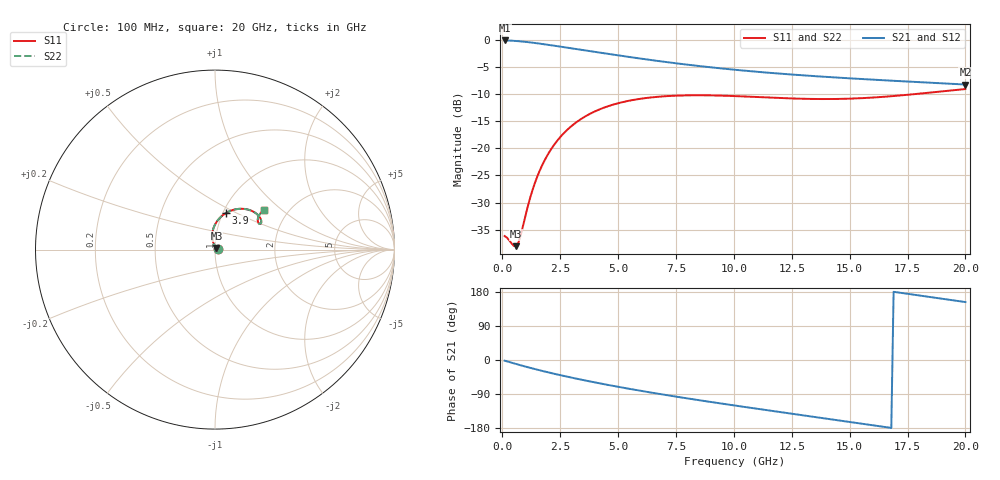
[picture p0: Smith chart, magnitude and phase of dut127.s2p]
! Created with skrf 1.9.0 (http://scikit-rf.org).
# GHz S RI R 50.0
!freq ReS11 ImS11 ReS21 ImS21 ReS12 ImS12 ReS22 ImS22
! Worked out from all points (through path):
!   200 points, 100 MHz to 20 GHz, reference 50 ohm
!   highest |S21| = -0.14 dB at 100 MHz (marker M1); lowest = -8.3 dB at 20 GHz (marker M2)
!   group delay of S21, straight-line fit = 27.1 ps
!   lowest |S11| = -38.0 dB at 600 MHz (marker M3), VSWR 1.03, Z = 50.8 + j0.973 ohm
!   |S11| at or under -10 dB: start of sweep to 17.87 GHz
!   |S22| runs from -38.0 to -9.1 dB; largest |S21 - S12| = 2.9e-15
!   S11 on the Smith chart (normalised r, x): 100 MHz: 1.03, +0.00; 3.9 GHz: 1.04, +0.44; 20 GHz: 1.53, +0.76
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0.1  0.0155 0.00108  0.9835 -0.0307  0.9835 -0.0307  0.0155 0.00108
0.5  0.0103 0.00722  0.9645 -0.1505  0.9645 -0.1505  0.0103 0.00722
0.6  0.0081 0.00957  0.9562 -0.1791  0.9562 -0.1791  0.0081 0.00957
0.7  0.00563 0.0124  0.9467 -0.207  0.9467 -0.207  0.00563 0.0124
0.8  0.00299 0.0157  0.9361 -0.234  0.9361 -0.234  0.00299 0.0157
1.1  -0.00509 0.0286  0.8983 -0.3098  0.8983 -0.3098  -0.00509 0.0286
1.3  -0.00982 0.0397  0.8692 -0.3556  0.8692 -0.3556  -0.00982 0.0397
1.5  -0.0134 0.0524  0.8377 -0.3976  0.8377 -0.3976  -0.0134 0.0524
1.8  -0.0158 0.0737  0.7874 -0.4535  0.7874 -0.4535  -0.0158 0.0737
2.1  -0.0143 0.0964  0.7346 -0.5016  0.7346 -0.5016  -0.0143 0.0964
2.5  -0.00587 0.1264  0.6625 -0.5545  0.6625 -0.5545  -0.00587 0.1264
3  0.0132 0.1604  0.5716 -0.605  0.5716 -0.605  0.0132 0.1604
3.5  0.0389 0.1878  0.4823 -0.6405  0.4823 -0.6405  0.0389 0.1878
3.9  0.0621 0.2043  0.413 -0.6595  0.413 -0.6595  0.0621 0.2043
5.2  0.1384 0.2274  0.2073 -0.6761  0.2073 -0.6761  0.1384 0.2274
6.8  0.2091 0.2137  0.003 -0.6337  0.003 -0.6337  0.2091 0.2137
8.4  0.2463 0.1844  -0.1505 -0.5551  -0.1505 -0.5551  0.2463 0.1844
10.1  0.2579 0.1574  -0.2689 -0.4534  -0.2689 -0.4534  0.2579 0.1574
11.7  0.2539 0.1444  -0.3468 -0.3493  -0.3468 -0.3493  0.2539 0.1444
13.4  0.2445 0.1455  -0.3995 -0.2343  -0.3995 -0.2343  0.2445 0.1455
16.7  0.2407 0.1798  -0.4202 -0.0121  -0.4202 -0.0121  0.2407 0.1798
20  0.2744 0.2191  -0.3441 0.1761  -0.3441 0.1761  0.2744 0.2191
